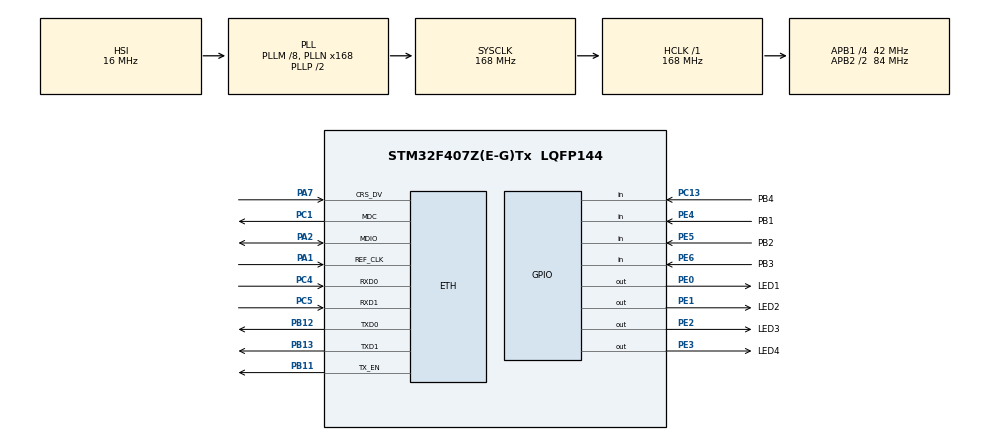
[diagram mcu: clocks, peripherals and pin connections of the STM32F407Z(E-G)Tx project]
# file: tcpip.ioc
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ETH.AutoNegotiation=ETH_AUTONEGOTIATION_ENABLE
ETH.MediaInterface=ETH_MEDIA_INTERFACE_RMII
ETH.PHY_Name_RMII=LAN8742A_PHY_ADDRESS
LWIP.GATEWAY_ADDRESS=192.168.000.070
LWIP.IP_ADDRESS=192.168.000.200
LWIP.LWIP_DBG_MIN_LEVEL=LWIP_DBG_LEVEL_ALL
LWIP.LWIP_DBG_TYPES_ON=LWIP_DBG_OFF
LWIP.LWIP_DHCP=0
LWIP.LWIP_TIMERS=0
LWIP.NETMASK_ADDRESS=255.255.255.000
LWIP.Version=v2.0.3_Cube
Mcu.Family=STM32F4
Mcu.Name=STM32F407Z(E-G)Tx
Mcu.Package=LQFP144
NVIC.PriorityGroup=NVIC_PRIORITYGROUP_4
PA1.Mode=RMII
PA1.Signal=ETH_REF_CLK
PA13.Mode=Serial_Wire
PA13.Signal=SYS_JTMS-SWDIO
PA14.Mode=Serial_Wire
PA14.Signal=SYS_JTCK-SWCLK
PA2.Mode=RMII
PA2.Signal=ETH_MDIO
PA7.Mode=RMII
PA7.Signal=ETH_CRS_DV
PB11.Mode=RMII
PB11.Signal=ETH_TX_EN
PB12.Mode=RMII
PB12.Signal=ETH_TXD0
PB13.Mode=RMII
PB13.Signal=ETH_TXD1
PC1.Mode=RMII
PC1.Signal=ETH_MDC
PC13-ANTI_TAMP.GPIO_Label=PB4
PC13-ANTI_TAMP.Signal=GPIO_Input
PC4.Mode=RMII
PC4.Signal=ETH_RXD0
PC5.Mode=RMII
PC5.Signal=ETH_RXD1
PE0.GPIO_Label=LED1
PE0.Signal=GPIO_Output
PE1.GPIO_Label=LED2
PE1.Signal=GPIO_Output
PE2.GPIO_Label=LED3
PE2.Signal=GPIO_Output
PE3.GPIO_Label=LED4
PE3.Signal=GPIO_Output
PE4.GPIO_Label=PB1
PE4.Signal=GPIO_Input
PE5.GPIO_Label=PB2
PE5.Signal=GPIO_Input
PE6.GPIO_Label=PB3
PE6.Signal=GPIO_Input
PH0-OSC_IN.Mode=HSE-External-Oscillator
PH0-OSC_IN.Signal=RCC_OSC_IN
PH1-OSC_OUT.Mode=HSE-External-Oscillator
PH1-OSC_OUT.Signal=RCC_OSC_OUT
ProjectManager.HeapSize=0x200
ProjectManager.StackSize=0x400
ProjectManager.TargetToolchain=MDK-ARM V5
RCC.48MHZClocksFreq_Value=84000000
RCC.AHBFreq_Value=168000000
RCC.APB1CLKDivider=RCC_HCLK_DIV4
RCC.APB1Freq_Value=42000000
RCC.APB1TimFreq_Value=84000000
RCC.APB2CLKDivider=RCC_HCLK_DIV2
RCC.APB2Freq_Value=84000000
RCC.APB2TimFreq_Value=168000000
RCC.CortexFreq_Value=168000000
RCC.HCLKFreq_Value=168000000
RCC.HSE_VALUE=8000000
RCC.HSI_VALUE=16000000
RCC.LSE_VALUE=32768
RCC.PLLM=8
RCC.PLLN=168
RCC.SYSCLKFreq_VALUE=168000000
RCC.SYSCLKSource=RCC_SYSCLKSOURCE_PLLCLK
RCC.VCOOutputFreq_Value=336000000
VP_LWIP_VS_Enabled.Mode=Enabled
board=custom

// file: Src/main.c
/* USER CODE BEGIN Header */
/**
  ******************************************************************************
  * @file           : main.c
  * @brief          : Main program body
  ******************************************************************************
  ** This notice applies to any and all portions of this file
  * that are not between comment pairs USER CODE BEGIN and
  * USER CODE END. Other portions of this file, whether
  * inserted by the user or by software development tools
  * are owned by their respective copyright owners.
  *
  * COPYRIGHT(c) 2019 STMicroelectronics
  *
  * Redistribution and use in source and binary forms, with or without modification,
  * are permitted provided that the following conditions are met:
  *   1. Redistributions of source code must retain the above copyright notice,
  *      this list of conditions and the following disclaimer.
  *   2. Redistributions in binary form must reproduce the above copyright notice,
  *      this list of conditions and the following disclaimer in the documentation
  *      and/or other materials provided with the distribution.
  *   3. Neither the name of STMicroelectronics nor the names of its contributors
  *      may be used to endorse or promote products derived from this software
  *      without specific prior written permission.
  *
  * THIS SOFTWARE IS PROVIDED BY THE COPYRIGHT HOLDERS AND CONTRIBUTORS "AS IS"
  * AND ANY EXPRESS OR IMPLIED WARRANTIES, INCLUDING, BUT NOT LIMITED TO, THE
  * IMPLIED WARRANTIES OF MERCHANTABILITY AND FITNESS FOR A PARTICULAR PURPOSE ARE
  * DISCLAIMED. IN NO EVENT SHALL THE COPYRIGHT HOLDER OR CONTRIBUTORS BE LIABLE
  * FOR ANY DIRECT, INDIRECT, INCIDENTAL, SPECIAL, EXEMPLARY, OR CONSEQUENTIAL
  * DAMAGES (INCLUDING, BUT NOT LIMITED TO, PROCUREMENT OF SUBSTITUTE GOODS OR
  * SERVICES; LOSS OF USE, DATA, OR PROFITS; OR BUSINESS INTERRUPTION) HOWEVER
  * CAUSED AND ON ANY THEORY OF LIABILITY, WHETHER IN CONTRACT, STRICT LIABILITY,
  * OR TORT (INCLUDING NEGLIGENCE OR OTHERWISE) ARISING IN ANY WAY OUT OF THE USE
  * OF THIS SOFTWARE, EVEN IF ADVISED OF THE POSSIBILITY OF SUCH DAMAGE.
  *
  ******************************************************************************
  */
/* USER CODE END Header */

#include "main.h"
#include "lwip.h"

/* USER CODE BEGIN Includes */
#include "tcp.h"
#include "string.h"
/* USER CODE END Includes */

/* USER CODE BEGIN PD */
#define KEYDEBOUNCE  	20
#define MAXDATALEN 		10
#define LED1_ON  			'1'
#define LED2_ON				'2'
#define LED3_ON				'3'
#define LED4_ON				'4'
#define LED1_OFF			'5'
#define LED2_OFF			'6'
#define LED3_OFF			'7'
#define LED4_OFF			'8'
#define GET_PB				'9'
/* USER CODE END PD */

/* USER CODE BEGIN PM */
void server_init				(u16_t port);
void 	server_conn_err		(void *arg, err_t err);
err_t server_recv				(void *arg, struct tcp_pcb *pcb, struct pbuf *p, err_t err);
err_t server_accept			(void *arg, struct tcp_pcb *pcb, err_t err);
char 	get_key_state			(void);
/* USER CODE END PM */

/* USER CODE BEGIN PV */
extern __IO uint32_t uwTick;
/* USER CODE END PV */

void SystemClock_Config(void);
static void MX_GPIO_Init(void);

int main(void)
{

  /* MCU Configuration--------------------------------------------------------*/

  /* Reset of all peripherals, Initializes the Flash interface and the Systick. */
  HAL_Init();

  /* Configure the system clock */
  SystemClock_Config();

  /* Initialize all configured peripherals */
  MX_GPIO_Init();
  MX_LWIP_Init();
  /* USER CODE BEGIN 2 */
  server_init(1000);

  /* Notify user about the network interface config */
  /* USER CODE END 2 */

  /* Infinite loop */
  while (1)
  {

    /* USER CODE BEGIN 3 */
			MX_LWIP_Process();

  }
  /* USER CODE END 3 */
}

void SystemClock_Config(void)
{
  RCC_OscInitTypeDef RCC_OscInitStruct = {0};
  RCC_ClkInitTypeDef RCC_ClkInitStruct = {0};

  /**Configure the main internal regulator output voltage
  */
  __HAL_RCC_PWR_CLK_ENABLE();
  __HAL_PWR_VOLTAGESCALING_CONFIG(PWR_REGULATOR_VOLTAGE_SCALE1);
  /**Initializes the CPU, AHB and APB busses clocks
  */
  RCC_OscInitStruct.OscillatorType = RCC_OSCILLATORTYPE_HSI;
  RCC_OscInitStruct.HSIState = RCC_HSI_ON;
  RCC_OscInitStruct.HSICalibrationValue = RCC_HSICALIBRATION_DEFAULT;
  RCC_OscInitStruct.PLL.PLLState = RCC_PLL_ON;
  RCC_OscInitStruct.PLL.PLLSource = RCC_PLLSOURCE_HSI;
  RCC_OscInitStruct.PLL.PLLM = 8;
  RCC_OscInitStruct.PLL.PLLN = 168;
  RCC_OscInitStruct.PLL.PLLP = RCC_PLLP_DIV2;
  RCC_OscInitStruct.PLL.PLLQ = 4;
  if (HAL_RCC_OscConfig(&RCC_OscInitStruct) != HAL_OK)
  {
    Error_Handler();
  }
  /**Initializes the CPU, AHB and APB busses clocks
  */
  RCC_ClkInitStruct.ClockType = RCC_CLOCKTYPE_HCLK|RCC_CLOCKTYPE_SYSCLK
                              |RCC_CLOCKTYPE_PCLK1|RCC_CLOCKTYPE_PCLK2;
  RCC_ClkInitStruct.SYSCLKSource = RCC_SYSCLKSOURCE_PLLCLK;
  RCC_ClkInitStruct.AHBCLKDivider = RCC_SYSCLK_DIV1;
  RCC_ClkInitStruct.APB1CLKDivider = RCC_HCLK_DIV4;
  RCC_ClkInitStruct.APB2CLKDivider = RCC_HCLK_DIV2;

  if (HAL_RCC_ClockConfig(&RCC_ClkInitStruct, FLASH_LATENCY_5) != HAL_OK)
  {
    Error_Handler();
  }
}

static void MX_GPIO_Init(void)
{
  GPIO_InitTypeDef GPIO_InitStruct = {0};

  /* GPIO Ports Clock Enable */
  __HAL_RCC_GPIOE_CLK_ENABLE();
  __HAL_RCC_GPIOC_CLK_ENABLE();
  __HAL_RCC_GPIOH_CLK_ENABLE();
  __HAL_RCC_GPIOA_CLK_ENABLE();
  __HAL_RCC_GPIOB_CLK_ENABLE();

  /*Configure GPIO pin Output Level */
  HAL_GPIO_WritePin(GPIOE, LED3_Pin|LED4_Pin|LED1_Pin|LED2_Pin, GPIO_PIN_RESET);

  /*Configure GPIO pins : LED3_Pin LED4_Pin LED1_Pin LED2_Pin */
  GPIO_InitStruct.Pin = LED3_Pin|LED4_Pin|LED1_Pin|LED2_Pin;
  GPIO_InitStruct.Mode = GPIO_MODE_OUTPUT_PP;
  GPIO_InitStruct.Pull = GPIO_NOPULL;
  GPIO_InitStruct.Speed = GPIO_SPEED_FREQ_LOW;
  HAL_GPIO_Init(GPIOE, &GPIO_InitStruct);

  /*Configure GPIO pins : PB1_Pin PB2_Pin PB3_Pin */
  GPIO_InitStruct.Pin = PB1_Pin|PB2_Pin|PB3_Pin;
  GPIO_InitStruct.Mode = GPIO_MODE_INPUT;
  GPIO_InitStruct.Pull = GPIO_NOPULL;
  HAL_GPIO_Init(GPIOE, &GPIO_InitStruct);

  /*Configure GPIO pin : PB4_Pin */
  GPIO_InitStruct.Pin = PB4_Pin;
  GPIO_InitStruct.Mode = GPIO_MODE_INPUT;
  GPIO_InitStruct.Pull = GPIO_NOPULL;
  HAL_GPIO_Init(PB4_GPIO_Port, &GPIO_InitStruct);

}

/* USER CODE BEGIN 4 */

/**
  * @brief  Called when a data is received on the server connection
  * @param  arg	the user argument
  * @param  pcb	the tcp_pcb that has received the data
  * @param  p	the packet buffer
  * @param  err	the error value linked with the received data
  * @retval error value
  */
err_t server_recv(void *arg, struct tcp_pcb *pcb, struct pbuf *p, err_t err)
{

  char *c;
  int i;
	char data_read[MAXDATALEN]={0};
	char data_send[MAXDATALEN]={0};

  /* We perform here any necessary processing on the pbuf */
  if (p != NULL)
  {
	/* We call this function to tell the LwIp that we have processed the data */
	/* This lets the stack advertise a larger window, so more data can be received*/
	tcp_recved(pcb, p->tot_len);

	c = p->payload;

	for( i = 0 ; i < p->len ; i++)
  {
	  data_read[i] = c[i];
	}

	switch (data_read[0])
	{
	  case LED1_ON:
			HAL_GPIO_WritePin(LED1_GPIO_Port,LED1_Pin,1);
			break;
		case LED2_ON:
			HAL_GPIO_WritePin(LED2_GPIO_Port,LED2_Pin,1);
			break;
		case LED3_ON:
			HAL_GPIO_WritePin(LED3_GPIO_Port,LED3_Pin,1);
			break;
		case LED4_ON:
			HAL_GPIO_WritePin(LED4_GPIO_Port,LED4_Pin,1);
			break;
		case LED1_OFF:
			HAL_GPIO_WritePin(LED1_GPIO_Port,LED1_Pin,0);
			break;
		case LED2_OFF:
			HAL_GPIO_WritePin(LED2_GPIO_Port,LED2_Pin,0);
			break;
		case LED3_OFF:
			HAL_GPIO_WritePin(LED3_GPIO_Port,LED3_Pin,0);
			break;
		case LED4_OFF:
			HAL_GPIO_WritePin(LED4_GPIO_Port,LED4_Pin,0);
			break;
		case GET_PB:
			sprintf(data_send,"%d",get_key_state());
		  tcp_write(pcb,data_send,strlen(data_send),1);
			break;
	}

	/* End of processing, we free the pbuf */
    pbuf_free(p);
  }
  else if (err == ERR_OK)
  {
    /* When the pbuf is NULL and the err is ERR_OK, the remote end is closing the connection. */
    /* We close the connection */
    return tcp_close(pcb);
  }
  return ERR_OK;

}

/**
  * @brief  This function when the server connection is established
  * @param  arg  user supplied argument
  * @param  pcb	 the tcp_pcb which accepted the connection
  * @param  err	 error value
  * @retval ERR_OK
  */
err_t server_accept(void *arg, struct tcp_pcb *pcb, err_t err)
{
  /* Configure LwIP to use our call back functions. */
  tcp_err(pcb, server_conn_err);
  tcp_recv(pcb, server_recv);
  return ERR_OK;
}

/**
  * @brief  Initialize the server application
  * @param  None
  * @retval None
  */
void server_init(u16_t port)
{
  struct tcp_pcb *pcb;

  /* Create a new TCP control block  */
  pcb = tcp_new();

  /* Assign to the new pcb a local IP address and a port number */
  /* Using IP_ADDR_ANY allow the pcb to be used by any local interface */
  tcp_bind(pcb, IP_ADDR_ANY, port);

  /* Set the connection to the LISTEN state */
  pcb = tcp_listen(pcb);

  /* Specify the function to be called when a connection is established */
  tcp_accept(pcb, server_accept);

}

/**
  * @brief  This function is called when an error occurs on the connection
  * @param  arg
  * @parm   err
  * @retval None
  */
void server_conn_err(void *arg, err_t err)
{
  struct name *name;
  name = (struct name *)arg;

  mem_free(name);
}

char get_key_state(void)
{
  if(!HAL_GPIO_ReadPin(PB1_GPIO_Port,PB1_Pin))
	{
		HAL_Delay(KEYDEBOUNCE);
		if(!HAL_GPIO_ReadPin(PB1_GPIO_Port,PB1_Pin))
		{
		 while(!HAL_GPIO_ReadPin(PB1_GPIO_Port,PB1_Pin));
		 return 1;
		}
	}

  if(!HAL_GPIO_ReadPin(PB2_GPIO_Port,PB2_Pin))
	{
		HAL_Delay(KEYDEBOUNCE);
		if(!HAL_GPIO_ReadPin(PB2_GPIO_Port,PB2_Pin))
		{
		 while(!HAL_GPIO_ReadPin(PB2_GPIO_Port,PB2_Pin));
		 return 2;
		}
	}

  if(!HAL_GPIO_ReadPin(PB3_GPIO_Port,PB3_Pin))
	{
		HAL_Delay(KEYDEBOUNCE);
		if(!HAL_GPIO_ReadPin(PB3_GPIO_Port,PB3_Pin))
		{
		 while(!HAL_GPIO_ReadPin(PB3_GPIO_Port,PB3_Pin));
		 return 3;
		}
	}

  if(!HAL_GPIO_ReadPin(PB4_GPIO_Port,PB4_Pin))
	{
		HAL_Delay(KEYDEBOUNCE);
		if(!HAL_GPIO_ReadPin(PB4_GPIO_Port,PB4_Pin))
		{
		 while(!HAL_GPIO_ReadPin(PB4_GPIO_Port,PB4_Pin));
		 return 4;
		}
	}

  return 0;
}
/* USER CODE END 4 */

void Error_Handler(void)
{
}

/************************ (C) COPYRIGHT STMicroelectronics *****END OF FILE****/
